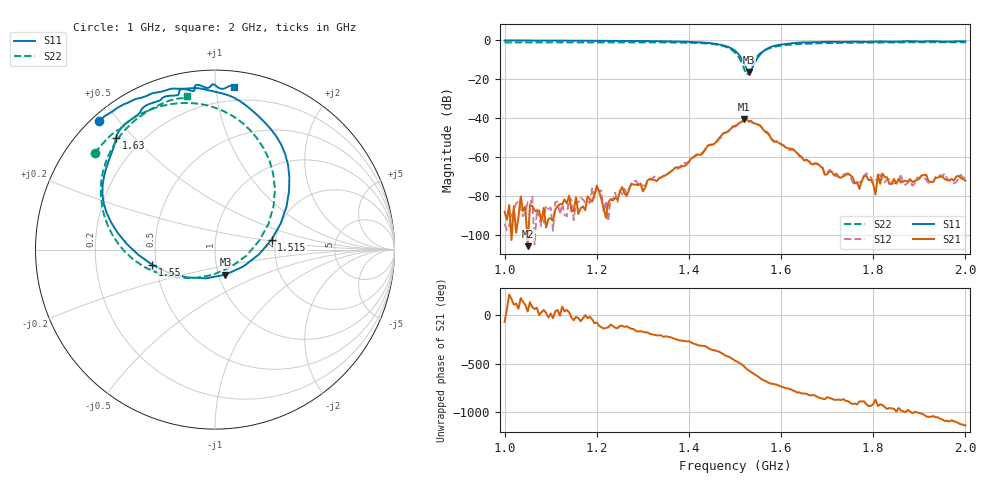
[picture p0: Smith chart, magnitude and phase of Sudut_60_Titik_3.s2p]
# Hz S RI R 50
! CMT, C1220, 16058040, 17.2.0/1
! Date: 14/08/2018 12:37:15
! Data: Format (Calibration Info)
! Freq  S11: Re/Im (F2)  S21: Re/Im (F2)  S12: Re/Im (F2)  S22: Re/Im (F2)
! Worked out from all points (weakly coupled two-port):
!   201 points, 1 GHz to 2 GHz, reference 50 ohm
!   highest |S21| = -40.45 dB at 1.52 GHz (marker M1); lowest = -105.6 dB at 1.05 GHz (marker M2)
!   lowest |S11| = -16.4 dB at 1.53 GHz (marker M3), VSWR 1.36, Z = 53.9 - j15.4 ohm
!   |S11| at or under -10 dB: 1.515 GHz to 1.547 GHz (31.86 MHz wide, 2.08 % of centre)
!   |S22| runs from -17.7 to -1.2 dB; largest |S21 - S12| = 0.00036
!   S11 on the Smith chart (normalised r, x): 1 GHz: 0.02, +0.44; 1.515 GHz: 1.90, +0.23; 1.55 GHz: 0.48, -0.09; 1.63 GHz: 0.11, +0.45; 2 GHz: 0.10, +1.12
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1e9  -0.6464 0.7146  1.22e-05 -3.82e-05  5.88e-06 -1.87e-05  -0.6705 0.5367
1.05e9  -0.6051 0.7493  4.28e-06 3e-06  -6.21e-05 3.34e-05  -0.643 0.5703
1.17e9  -0.4747 0.8234  4.43e-05 -3.22e-05  7.89e-05 -2.24e-05  -0.5596 0.6548
1.2e9  -0.433 0.8411  4.05e-05 -0.000181  2.01e-05 -0.000176  -0.5308 0.6689
1.265e9  -0.3371 0.8737  -4.71e-05 -9e-05  -4.35e-05 -0.000108  -0.4755 0.7199
1.275e9  -0.3237 0.8756  -0.000168 -0.000125  -0.000123 -0.000151  -0.4637 0.7276
1.3e9  -0.2676 0.8892  -0.000131 -1.7e-05  -0.000188 1.05e-05  -0.4309 0.7472
1.335e9  -0.2128 0.8962  -0.000245 0.000144  -0.000262 0.000141  -0.3759 0.7731
1.45e9  0.1863 0.7921  0.00205 6e-05  0.0021 -8.13e-05  0.0168 0.7844
1.5e9  0.4125 0.3248  -0.0022 -0.00592  -0.00208 -0.00558  0.3341 0.3366
1.515e9  0.3148 0.0547  -0.00697 -0.00412  -0.00687 -0.00427  0.2467 0.0501
1.52e9  0.2446 -0.0269  -0.00935 -0.0017  -0.00937 -0.0018  0.1756 -0.0336
1.53e9  0.0584 -0.1398  -0.00698 0.00412  -0.0071 0.00416  -0.0147 -0.1412
1.55e9  -0.3504 -0.0842  0.00029 0.00679  -1.36e-05 0.00679  -0.3859 -0.1014
1.63e9  -0.5512 0.6238  0.000656 -0.00129  0.000682 -0.00126  -0.6161 0.4626
1.67e9  -0.4343 0.7485  -0.000135 -0.000633  -0.000134 -0.00072  -0.565 0.5798
1.77e9  -0.2339 0.8579  -0.00015 -3.27e-05  -0.000224 1.01e-05  -0.4372 0.7272
1.785e9  -0.2045 0.863  -0.000319 9.6e-05  -0.000366 0.000115  -0.4181 0.7416
1.805e9  -0.1951 0.889  -9.43e-05 -5.68e-05  -0.000259 9.56e-05  -0.3937 0.7591
1.81e9  -0.1888 0.8931  -0.000291 0.000204  -0.000127 0.000194  -0.3879 0.763
1.835e9  -0.1275 0.8837  -0.000117 0.000167  -2.71e-05 0.000272  -0.3584 0.7812
2e9  0.1042 0.9062  0.000147 -0.000202  0.000178 -0.000234  -0.1585 0.8539
